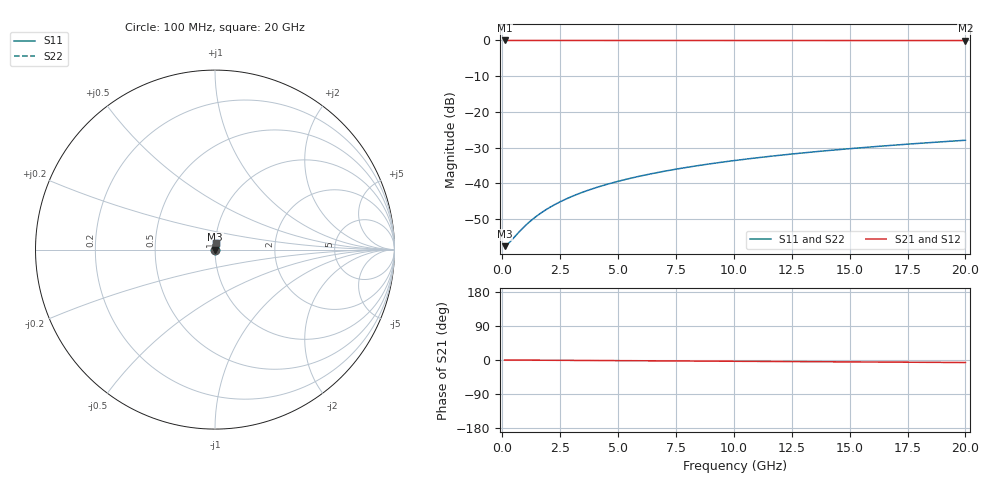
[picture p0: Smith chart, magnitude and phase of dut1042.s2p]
! Touchstone file exported from HFSS 2026.1.0
!  File:  C:/ffzhzh/LocalFiles/Ansys_Project_Files/temp_train_TSV_1042_1783189310_51560.aedt
!  Generated:  02:23:50 AM Jul  5, 2026
!  Design:  TSV
!  Project:  temp_train_TSV_1042_1783189310_51560
! Variables:
!  h_bsmrdl = 2um
!  h_ox = 20um
!  h_rdl = 5um
!  h_sub = 66.36um
!  h_tmrdl = 5um
!  h_tsv = 66.36um
!  h_via = 3um
!  l_bsmrdl = 300um
!  l_sub = 404.88um
!  l_tmrdl = 200um
!  m_sub = 200um
!  pitch = 16.82um
!  r_tsv = 2.44um
!  s_tmrdl = 10um
!  w_bsmrdl = 18um
!  w_sub = 500um
!  w_tmrdl = 12um
!  x_tsv_center1 = 206um
!  x_tsv_center2 = 524um
!  x_tsv_center3 = 736um
!  x_tsv_center4 = 1054um
!  x_tsv_center5 = 1266um
!  x_tsv_center6 = 1584um
# GHz S MA R 50.000000
! Terminal data exported
! Port[1] = TSV1_1_T1
! Port[2] = TSV1_1_T2
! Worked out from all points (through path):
!   200 points, 100 MHz to 20 GHz, reference 50 ohm
!   highest |S21| = -0.01 dB at 100 MHz (marker M1); lowest = 0.0 dB at 20 GHz (marker M2)
!   lowest |S11| = -57.6 dB at 100 MHz (marker M3), VSWR 1.00, Z = 50.1 + j0.0226 ohm
!   |S11| at or under -10 dB: start of sweep to end of sweep
!   |S22| runs from -57.6 to -27.9 dB; largest |S21 - S12| = 3.3e-15
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0.1  0.00132 9.8  0.9987 -0.0  0.9987 -0.0  0.00132 9.8
! Gamma 0 0 0 0
! Port Impedance 50 0 50 0
0.2  0.001382 19.0  0.9987 -0.1  0.9987 -0.1  0.001382 19.0
0.3  0.001478 27.0  0.9987 -0.1  0.9987 -0.1  0.001478 27.0
0.8  0.002214 51.7  0.9986 -0.3  0.9986 -0.3  0.002214 51.7
1.1  0.00275 59.4  0.9986 -0.4  0.9986 -0.4  0.00275 59.4
1.4  0.003317 64.6  0.9986 -0.5  0.9986 -0.5  0.003317 64.6
1.7  0.003904 68.1  0.9986 -0.6  0.9986 -0.6  0.003904 68.1
2.1  0.004704 71.5  0.9986 -0.7  0.9986 -0.7  0.004704 71.5
2.5  0.005517 73.8  0.9985 -0.9  0.9985 -0.9  0.005517 73.8
3  0.006543 75.7  0.9985 -1.0  0.9985 -1.0  0.006543 75.7
3.5  0.007573 77.1  0.9984 -1.2  0.9984 -1.2  0.007573 77.1
4.2  0.009019 78.4  0.9984 -1.4  0.9984 -1.4  0.009019 78.4
5  0.01067 79.3  0.9983 -1.7  0.9983 -1.7  0.01067 79.3
5.9  0.01252 79.8  0.9981 -2.0  0.9981 -2.0  0.01252 79.8
6.8  0.01436 80.2  0.998 -2.3  0.998 -2.3  0.01436 80.2
8.3  0.0174 80.3  0.9978 -2.8  0.9978 -2.8  0.0174 80.3
10.1  0.02099 80.3  0.9975 -3.4  0.9975 -3.4  0.02099 80.3
11.7  0.02414 80.0  0.9972 -3.9  0.9972 -3.9  0.02414 80.0
13.4  0.02746 79.7  0.9969 -4.5  0.9969 -4.5  0.02746 79.8
15  0.03055 79.4  0.9966 -5.0  0.9966 -5.0  0.03055 79.4
16.7  0.0338 79.1  0.9963 -5.6  0.9963 -5.6  0.0338 79.1
20  0.04006 78.3  0.9957 -6.7  0.9957 -6.7  0.04006 78.3
